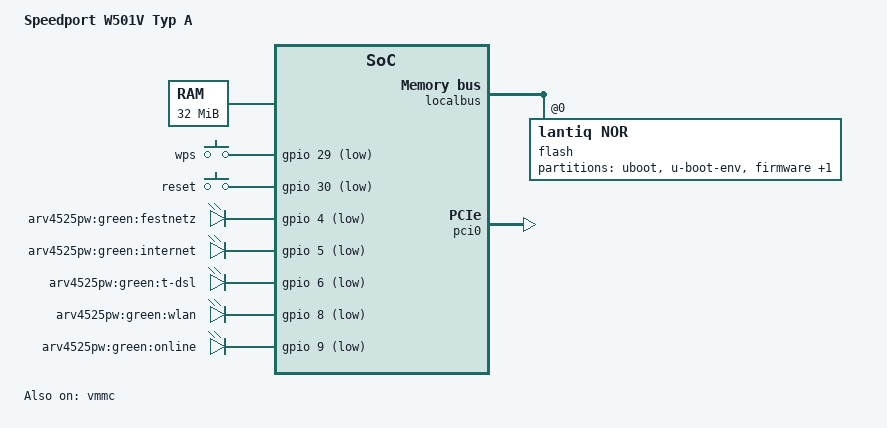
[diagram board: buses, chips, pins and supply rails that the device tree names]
/dts-v1/;

#include "danube.dtsi"

#include <dt-bindings/input/input.h>

/ {
	compatible = "arcadyan,arv4525pw", "lantiq,xway", "lantiq,danube";
	model = "Speedport W501V Typ A";

	chosen {
		bootargs = "console=ttyLTQ0,115200";
	};

	aliases {
		/* we dont have a power led, lets use the online led */
		led-boot = &online;
		led-failsafe = &online;

		led-dsl = &dsl;
		led-internet = &online;
		led-wifi = &wifi;
	};

	memory@0 {
		device_type = "memory";
		reg = <0x0 0x2000000>;
	};

	ath5k_eep {
		compatible = "ath5k,eeprom";
		ath,eep-flash = <&boardconfig 0x400>;
		ath,mac-offset = <0x0>;
		ath,eep-swap;
	};

	keys {
		compatible = "gpio-keys-polled";
		poll-interval = <100>;

		wps {
			label = "wps";
			gpios = <&gpio 29 GPIO_ACTIVE_LOW>;
			linux,code = <KEY_WPS_BUTTON>;
		};
		reset {
			label = "reset";
			gpios = <&gpio 30 GPIO_ACTIVE_LOW>;
			linux,code = <KEY_RESTART>;
		};
	};

	leds {
		compatible = "gpio-leds";
		fxo {
			label = "arv4525pw:green:festnetz";
			gpios = <&gpio 4 GPIO_ACTIVE_LOW>;
		};
		fxs {
			label = "arv4525pw:green:internet";
			gpios = <&gpio 5 GPIO_ACTIVE_LOW>;
		};
		dsl: dsl {
			label = "arv4525pw:green:t-dsl";
			gpios = <&gpio 6 GPIO_ACTIVE_LOW>;
		};
		wifi: wifi {
			label = "arv4525pw:green:wlan";
			gpios = <&gpio 8 GPIO_ACTIVE_LOW>;
		};
		online: online {
			label = "arv4525pw:green:online";
			gpios = <&gpio 9 GPIO_ACTIVE_LOW>;
		};
	};
};

&gpio {
	pinctrl-names = "default";
	pinctrl-0 = <&state_default>;

	state_default: pinmux {
		pci_rst {
			lantiq,pins = "io21";
			lantiq,pull = <2>;
			lantiq,output = <1>;
		};
		relay {
			lantiq,pins = "io31";
			lantiq,output = <1>;
		};
	};
};

/* #define ARV4525PW_PHYRESET	13 */
&gsw {
	phy-mode = "mii";
	mtd-mac-address = <&boardconfig 0x16>;
};

&localbus {
	flash@0 {
		compatible = "lantiq,nor";
		bank-width = <2>;
		reg = <0 0x0 0x2000000>;

		partitions {
			compatible = "fixed-partitions";
			#address-cells = <1>;
			#size-cells = <1>;

			partition@0 {
				label = "uboot";
				reg = <0x00000 0x10000>;
				read-only;
			};

			partition@10000 {
				label = "u-boot-env";
				reg = <0x10000 0x10000>;
				read-only;
			};

			partition@20000 {
				label = "firmware";
				reg = <0x20000 0x3d0000>;
			};

			boardconfig: partition@400000 {
				label = "boardconfig";
				reg = <0x3f0000 0x10000>;
				read-only;
			};
		};
	};
};

&pci0 {
	status = "okay";

	pinctrl-0 = <&pci_gnt1_pins>, <&pci_req1_pins>;
	pinctrl-names = "default";

	gpio-reset = <&gpio 21 GPIO_ACTIVE_HIGH>;
};

/* #define ARV4525PW_RELAY		31 */
&vmmc {
	status = "okay";
	gpios = <&gpio 31 GPIO_ACTIVE_HIGH>;
};
